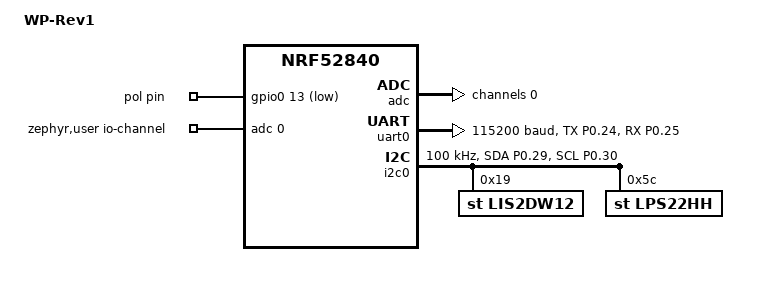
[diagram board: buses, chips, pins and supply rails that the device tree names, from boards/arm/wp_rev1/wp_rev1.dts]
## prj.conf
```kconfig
CONFIG_LOG=n
CONFIG_SERIAL=y
CONFIG_UART_INTERRUPT_DRIVEN=y
CONFIG_CONSOLE=n
CONFIG_PRINTK=n
CONFIG_SHELL=n
CONFIG_UART_CONSOLE=n
CONFIG_USE_SEGGER_RTT=n
CONFIG_BOOTLOADER_MCUBOOT=n

CONFIG_BT=y
CONFIG_BT_EXT_ADV=y
CONFIG_BT_PER_ADV=y
CONFIG_BT_CTLR_PHY_CODED=y
CONFIG_BT_USER_PHY_UPDATE=y
CONFIG_BT_HCI=y
CONFIG_BT_CTLR=y
CONFIG_BT_CTLR_TX_PWR_PLUS_8=y
CONFIG_BT_DEBUG_LOG=n
CONFIG_BT_DEVICE_NAME="WePower"
CONFIG_CLOCK_CONTROL_NRF_K32SRC_RC=y
CONFIG_CLOCK_CONTROL_NRF_K32SRC_250PPM=y
CONFIG_CLOCK_CONTROL_NRF_K32SRC_XTAL=n
#CONFIG_BOARD_ENABLE_DCDC=y
# From Nordic to disable Crypto RNG
CONFIG_HW_CC3XX=n
CONFIG_ENTROPY_CC3XX=n
CONFIG_ENTROPY_NRF5_RNG=y
CONFIG_CC3XX_BACKEND=n
# Software Crypto with Mbed
CONFIG_MBEDTLS=y
CONFIG_MBEDTLS_BUILTIN=y
CONFIG_MBEDTLS_HEAP_SIZE=512
CONFIG_MBEDTLS_CIPHER_CCM_ENABLED=y
CONFIG_MBEDTLS_CIPHER_GCM_ENABLED=y
CONFIG_CRYPTO=y
CONFIG_CRYPTO_MBEDTLS_SHIM=y
# GPIO
CONFIG_GPIO=y
# ADC
CONFIG_ADC=y
# I2C
CONFIG_I2C=y
CONFIG_I2C_NRFX=y
CONFIG_NRFX_TWIM0=y
CONFIG_SENSOR=y
CONFIG_LIS2DW12=y
CONFIG_LPS22HH=y
CONFIG_LPS22HH_TRIGGER_NONE=n
CONFIG_CBPRINTF_FP_SUPPORT=n
```

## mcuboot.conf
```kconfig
CONFIG_MULTITHREADING=y
CONFIG_LOG=n
CONFIG_CONSOLE=n
CONFIG_PRINTK=n
CONFIG_SHELL=n
CONFIG_SERIAL=n
CONFIG_FLASH=y
```

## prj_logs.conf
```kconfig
# Print the log on RTT Viewer
CONFIG_SERIAL=y
CONFIG_UART_INTERRUPT_DRIVEN=y
CONFIG_CONSOLE=y
CONFIG_UART_CONSOLE=n
CONFIG_RTT_CONSOLE=y
CONFIG_USE_SEGGER_RTT=y
CONFIG_LOG=y
CONFIG_STDOUT_CONSOLE=y
CONFIG_LOG_MODE_DEFERRED=y
CONFIG_LOG_BACKEND_UART=n
CONFIG_LOG_BACKEND_RTT=y
CONFIG_LOG_BUFFER_SIZE=4096
CONFIG_SEGGER_RTT_BUFFER_SIZE_UP=4096
CONFIG_SEGGER_RTT_BUFFER_SIZE_DOWN=256

CONFIG_BT=y
CONFIG_BT_EXT_ADV=y
CONFIG_BT_PER_ADV=y
CONFIG_BT_CTLR_PHY_CODED=y
CONFIG_BT_USER_PHY_UPDATE=y
CONFIG_BT_HCI=y
CONFIG_BT_CTLR=y
CONFIG_BT_CTLR_TX_PWR_PLUS_8=y
CONFIG_BT_DEBUG_LOG=y

CONFIG_BT_DEVICE_NAME="WePower"

CONFIG_CLOCK_CONTROL_NRF_K32SRC_RC=y
CONFIG_CLOCK_CONTROL_NRF_K32SRC_XTAL=n
#CONFIG_BOARD_ENABLE_DCDC=y
# From Nordic to disable Crypto RNG
CONFIG_HW_CC3XX=n
CONFIG_ENTROPY_CC3XX=n
CONFIG_ENTROPY_NRF5_RNG=y
CONFIG_CC3XX_BACKEND=n
# Software Crypto with Mbed
CONFIG_MBEDTLS=y
CONFIG_MBEDTLS_BUILTIN=y
CONFIG_MBEDTLS_HEAP_SIZE=512
CONFIG_MBEDTLS_CIPHER_CCM_ENABLED=y
# CONFIG_MBEDTLS_CIPHER_GCM_ENABLED=y
CONFIG_CRYPTO=y
CONFIG_CRYPTO_MBEDTLS_SHIM=y
# GPIO
CONFIG_GPIO=y
# ADC
CONFIG_ADC=y
# I2C
CONFIG_I2C=y
CONFIG_I2C_NRFX=y
CONFIG_NRFX_TWIM0=y
CONFIG_I2C_LOG_LEVEL_DBG=y
CONFIG_SENSOR=y
CONFIG_LIS2DW12=y
CONFIG_LPS22HH=y
CONFIG_LPS22HH_TRIGGER_NONE=n
CONFIG_CBPRINTF_FP_SUPPORT=y
```

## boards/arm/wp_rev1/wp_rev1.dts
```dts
// Copyright (c) 2022 Nordic Semiconductor ASA
// SPDX-License-Identifier: Apache-2.0

/dts-v1/;
#include <nordic/nrf52840_qiaa.dtsi>

/ {
	model = "WP-Rev1";
	compatible = "nordic,wepower,wp-rev1";

	chosen {
        zephyr,console = &uart0;
		zephyr,shell-uart = &uart0;
		zephyr,uart-mcumgr = &uart0;
		zephyr,bt-mon-uart = &uart0;
		zephyr,bt-c2h-uart = &uart0;
		zephyr,sram = &sram0;
		zephyr,flash = &flash0;
		zephyr,code-partition = &slot0_partition;
        zephyr,entropy = &rng;
        zephyr,i2c = &i2c0;
	};

	gpios {
		compatible = "gpio-keys";
		pol_gpio: pol_gpio {
			gpios = <&gpio0 13 (GPIO_PULL_UP | GPIO_ACTIVE_LOW)>;
			label = "pol pin";
		};
	};

	aliases {
		pol = &pol_gpio;
	};
	
	zephyr,user {
		io-channels = <&adc 0>;
	};
};

&pinctrl {
	uart0_default: uart0_default {
		group1 {
			psels = <NRF_PSEL(UART_TX, 0, 24)>, <NRF_PSEL(UART_RX, 0, 25)>;
		};
	};

	uart0_sleep: uart0_sleep {
		group1 {
			psels = <NRF_PSEL(UART_TX, 0, 24)>, <NRF_PSEL(UART_RX, 0, 25)>;
			low-power-enable;
		};
	};

	i2c0_default: i2c0_default {
		group1 {
            psels = <NRF_PSEL(TWIM_SDA, 0, 29)>, <NRF_PSEL(TWIM_SCL, 0, 30)>;
		};
	};

	i2c0_sleep: i2c0_sleep {
		group1 {
            psels = <NRF_PSEL(TWIM_SDA, 0, 29)>, <NRF_PSEL(TWIM_SCL, 0, 30)>;
		};
	};
};

&flash0 {
	partitions {
		compatible = "fixed-partitions";
		#address-cells = <1>;
		#size-cells = <1>;

		boot_partition: partition@0 {
			label = "mcuboot";
			reg = <0x00000000 0x0000C000>;
		};
		slot0_partition: partition@c000 {
			label = "image-0";
			reg = <0x0000C000 0x00067000>;
		};
		slot1_partition: partition@73000 {
			label = "image-1";
			reg = <0x00073000 0x00067000>;
		};
		scratch_partition: partition@da000 {
			label = "image-scratch";
			reg = <0x000da000 0x0001e000>;
		};

		/*
		 * The flash starting at 0x000f8000 and ending at
		 * 0x000fffff is reserved for use by the application.
		 */

		/*
		 * Storage partition will be used by FCB/LittleFS/NVS
		 * if enabled.
		 */
		storage_partition: partition@f8000 {
			label = "storage";
			reg = <0x000f8000 0x00008000>;
		};
	};
};

&adc {
	status = "okay";
	#address-cells = <1>;
	#size-cells = <0>;

	channel@0 {
		reg = <0>;
		zephyr,gain = "ADC_GAIN_1_6";
		zephyr,reference = "ADC_REF_INTERNAL";
		zephyr,acquisition-time = <ADC_ACQ_TIME_DEFAULT>;
		zephyr,input-positive = <NRF_SAADC_AIN1>; /* P0.03 */
		zephyr,resolution = <12>;
	};
};

&gpiote {
	status = "okay";
};

&gpio0 {
	status = "okay";
};

&gpio1 {
	status = "okay";
};

&uart0 {
	compatible = "nordic,nrf-uarte";
	status = "okay";
	current-speed = <115200>;
	pinctrl-0 = <&uart0_default>;
	pinctrl-1 = <&uart0_sleep>;
	pinctrl-names = "default", "sleep";
};

&i2c0 {
	compatible = "nordic,nrf-twim";
	status = "okay";
    clock-frequency = <I2C_BITRATE_STANDARD>;
	pinctrl-0 = <&i2c0_default>;
	pinctrl-1 = <&i2c0_sleep>;
	pinctrl-names = "default", "sleep";
	zephyr,concat-buf-size = <32>;	

    accel: lis2dw12@19 {
        compatible = "st,lis2dw12";
        reg = <0x19>;
        status = "okay";
        label = "LIS2DW12";
    };

    temp_pressure: st_lps22hh@5c {
        compatible = "st,lps22hh";
        reg = <0x5c>;
        status = "okay";
        label = "LPS22HH";
    };
};
```

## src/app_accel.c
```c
/** @file app_accel.c
* 
* @brief Accelerometer interface
*
* @par       
* COPYRIGHT NOTICE: (c) 2022 Ovyl. All rights reserved.
*/

#include <zephyr/kernel.h>
#include <zephyr/device.h>
#include <zephyr/devicetree.h>
#include <zephyr/drivers/sensor.h>
#include <zephyr/types.h>
#include <zephyr/logging/log.h>
#include <stdio.h>
#include <stddef.h>
#include <string.h>
#include <zephyr/sys/printk.h>
#include <zephyr/sys/util.h>
#include <zephyr/sys/util_macro.h>
#include <zephyr/drivers/i2c.h>

#include "app_accel.h"
#include "app_types.h"

static const enum sensor_channel channels[] = {
	SENSOR_CHAN_ACCEL_X,
	SENSOR_CHAN_ACCEL_Y,
	SENSOR_CHAN_ACCEL_Z,
};

int app_accel_service(accel_data_t *accel_data)
{
    const struct device *const accel_dev = DEVICE_DT_GET(DT_NODELABEL(accel));
    if (!device_is_ready(accel_dev)) {
		printk("Device %s is not ready\n", accel_dev->name);
		return ACCEL_ERROR;
	}

    int ret;
	struct sensor_value accel[3];
    
	ret = sensor_sample_fetch(accel_dev);
	if (ret < 0) {
		printk("%s: sensor_sample_fetch() failed: %d\n", accel_dev->name, ret);
		return ret;
	}

	for (size_t i = 0; i < ARRAY_SIZE(channels); i++) {
		ret = sensor_channel_get(accel_dev, channels[i], &accel[i]);
		if (ret < 0) {
			printk("%s: sensor_channel_get(%c) failed: %d\n", accel_dev->name, 'X' + i, ret);
			return ret;
		}
	}

    printk("[m/s^2]: (%12.6f, %12.6f, %12.6f)\n", sensor_value_to_double(&accel[0]), sensor_value_to_double(&accel[1]), sensor_value_to_double(&accel[2]));

    float val_x = sensor_value_to_double(&accel[0]);
    float val_y = sensor_value_to_double(&accel[1]);
    float val_z = sensor_value_to_double(&accel[2]);
    int16_t val_x_cast = (int16_t)(val_x*1000);
    int16_t val_y_cast = (int16_t)(val_y*1000);
    int16_t val_z_cast = (int16_t)(val_z*1000);

    printk("x: %i, y: %i, z: %i\n", val_x_cast, val_y_cast, val_z_cast);

    accel_data->x_accel = val_x_cast;
    accel_data->y_accel = val_y_cast;
    accel_data->z_accel = val_z_cast;

    return ACCEL_SUCCESS;
}
```

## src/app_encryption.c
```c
/** @file app_encryption.c
* 
* @brief Encryption interface
*
* @par       
* COPYRIGHT NOTICE: (c) 2022 Ovyl. All rights reserved.
*/

#include <zephyr/kernel.h>
#include <zephyr/device.h>
#include <zephyr/devicetree.h>
#include <zephyr/types.h>
#include <zephyr/logging/log.h>
#include <stdio.h>
#include <stddef.h>
#include <string.h>
#include <zephyr/sys/printk.h>
#include <zephyr/sys/util.h>
#include <zephyr/crypto/crypto.h>

#include "app_encryption.h"

#define CRYPTO_DRV_NAME CONFIG_CRYPTO_MBEDTLS_SHIM_DRV_NAME
#define CRYPTO_DEV_COMPAT nordic_nrf_ecb

uint8_t ecb_key[16] = {
	0x00, 0x01, 0x02, 0x03, 0x04, 0x05, 0x06, 0x07,
	0x08, 0x09, 0x0A, 0x0B, 0x0C, 0x0D, 0x0E, 0x0F
};
uint32_t cap_flags;

// static void print_buffer_comparison(const uint8_t *wanted_result,
// 				    uint8_t *result, size_t length)
// {
// 	int i, j;

// 	printk("Was waiting for: \n");

// 	for (i = 0, j = 1; i < length; i++, j++) {
// 		printk("0x%02x ", wanted_result[i]);

// 		if (j == 10) {
// 			printk("\n");
// 			j = 0;
// 		}
// 	}

// 	printk("\n But got:\n");

// 	for (i = 0, j = 1; i < length; i++, j++) {
// 		printk("0x%02x ", result[i]);

// 		if (j == 10) {
// 			printk("\n");
// 			j = 0;
// 		}
// 	}

// 	printk("\n");
// }

void ecb_mode(const struct device *dev)
{
	/* from FIPS-197 test vectors */


	
	// struct cipher_pkt decrypt = {
	// 	.in_buf = encrypt.out_buf,
	// 	.in_len = sizeof(encrypted),
	// 	.out_buf = decrypted,
	// 	.out_buf_max = sizeof(decrypted),
	// };

	

	

	// if (cipher_begin_session(dev, &ini, CRYPTO_CIPHER_ALGO_AES,
	// 			 CRYPTO_CIPHER_MODE_ECB,
	// 			 CRYPTO_CIPHER_OP_DECRYPT)) {
	// 	return;
	// }

	// if (cipher_block_op(&ini, &decrypt)) {
	// 	printk("ECB mode DECRYPT - Failed");
	// 	goto out;
	// }

	// printk("Output length (decryption): %d", decrypt.out_len);

	// if (memcmp(decrypt.out_buf, ecb_plaintext, sizeof(ecb_plaintext))) {
	// 	printk("ECB mode DECRYPT - Mismatch between plaintext and "
	// 		    "decrypted cipher text");
	// 	print_buffer_comparison(ecb_plaintext, decrypt.out_buf,
	// 				sizeof(ecb_plaintext));
	// 	goto out;
	// }

	// printk("ECB mode DECRYPT - Match");

}

int validate_hw_compatibility(const struct device *dev)
{
	uint32_t flags = 0U;

	flags = crypto_query_hwcaps(dev);
	if ((flags & CAP_RAW_KEY) == 0U) {
		printk("Please provision the key separately "
			"as the module doesnt support a raw key");
		return -1;
	}

	if ((flags & CAP_SYNC_OPS) == 0U) {
		printk("The app assumes sync semantics. "
		  "Please rewrite the app accordingly before proceeding");
		return -1;
	}

	if ((flags & CAP_SEPARATE_IO_BUFS) == 0U) {
		printk("The app assumes distinct IO buffers. "
		"Please rewrite the app accordingly before proceeding");
		return -1;
	}

	cap_flags = CAP_RAW_KEY | CAP_SYNC_OPS | CAP_SEPARATE_IO_BUFS;

	return 0;

}

int app_encrypt_payload(uint8_t *cleartext, uint8_t cleartext_len, uint8_t *encrypted, uint8_t encrypted_len)
{
    const struct device *dev_crypto = device_get_binding(CRYPTO_DRV_NAME);

	if (!dev_crypto) {
		printk("%s crypto device not found", CRYPTO_DRV_NAME);
		return ENCRYPTION_ERROR;
	}

    if (validate_hw_compatibility(dev_crypto)) {
		printk("Incompatible h/w");
		return ENCRYPTION_ERROR;
	}

    printk("Crypto Init Success!\n");

	struct cipher_ctx ini = {
		.keylen = sizeof(ecb_key),
		.key.bit_stream = ecb_key,
		.flags = cap_flags,
	};
	struct cipher_pkt encrypt = {
		.in_buf = cleartext,
		.in_len = cleartext_len,
		.out_buf_max = encrypted_len,
		.out_buf = encrypted,
	};

    if (cipher_begin_session(dev_crypto, &ini, CRYPTO_CIPHER_ALGO_AES,
				 CRYPTO_CIPHER_MODE_ECB,
				 CRYPTO_CIPHER_OP_ENCRYPT)) {
		return ENCRYPTION_ERROR;
	}

	if (cipher_block_op(&ini, &encrypt)) {
		printk("ERROR: ECB mode ENCRYPT - Failed\n");
		goto out;
	}

    printk("Output length (encryption): %d\n", encrypt.out_len);

	if (memcmp(encrypt.out_buf, encrypted, encrypted_len)) {
		printk("ERROR: ECB mode ENCRYPT - Mismatch between expected and "
			    "returned cipher text\n");
		goto out;
	}

	printk("ECB mode ENCRYPT - Match\n");
    cipher_free_session(dev_crypto, &ini);
    return ENCRYPTION_SUCCESS;

out:
	cipher_free_session(dev_crypto, &ini);
    return ENCRYPTION_ERROR;
}
```

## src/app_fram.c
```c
/** @file fram.c
* 
* @brief FRAM interface
*
* @par       
* COPYRIGHT NOTICE: (c) 2022 Ovyl. All rights reserved.
*/

#include <zephyr/kernel.h>
#include <zephyr/device.h>
#include <zephyr/devicetree.h>
#include <zephyr/drivers/sensor.h>
#include <zephyr/types.h>
#include <zephyr/logging/log.h>
#include <stdio.h>
#include <stddef.h>
#include <string.h>
#include <zephyr/sys/printk.h>
#include <zephyr/sys/util.h>
#include <zephyr/drivers/i2c.h>

#include "app_fram.h"
#include "app_types.h"

// FRAM Defines
#define FRAM_I2C_ADDR 0x50


int i2c_write_bytes(const struct device *i2c_dev, uint16_t addr, uint8_t *data, uint32_t num_bytes)
{
	uint8_t wr_addr[2];
	struct i2c_msg msgs[2];

	/* FRAM address */
	wr_addr[0] = (addr >> 8) & 0xFF;
	wr_addr[1] = addr & 0xFF;
    
	/* Setup I2C messages */

	/* Send the address to write to */
	msgs[0].buf = wr_addr;
	msgs[0].len = 2U;
	msgs[0].flags = I2C_MSG_WRITE;

	/* Data to be written, and STOP after this. */
	msgs[1].buf = data;
	msgs[1].len = num_bytes;
	msgs[1].flags = I2C_MSG_WRITE | I2C_MSG_STOP;

	return i2c_transfer(i2c_dev, &msgs[0], 2, FRAM_I2C_ADDR);
}

int i2c_read_bytes(const struct device *i2c_dev, uint16_t addr, uint8_t *data, uint32_t num_bytes)
{
	uint8_t wr_addr[2];
	struct i2c_msg msgs[2];

	/* Now try to read back from FRAM */

	/* FRAM address */
	wr_addr[0] = (addr >> 8) & 0xFF;
	wr_addr[1] = addr & 0xFF;

	/* Setup I2C messages */

	/* Send the address to read from */
	msgs[0].buf = wr_addr;
	msgs[0].len = 2U;
	msgs[0].flags = I2C_MSG_WRITE;

	/* Read from device. STOP after this. */
	msgs[1].buf = data;
	msgs[1].len = num_bytes;
	msgs[1].flags = I2C_MSG_READ | I2C_MSG_STOP;

	return i2c_transfer(i2c_dev, &msgs[0], 2, FRAM_I2C_ADDR);
}

int app_fram_read_field(uint8_t field, uint8_t *dat)
{
	int ret;
	uint16_t addr = 0;
	uint32_t length = 0;

	const struct device *const i2c_dev = DEVICE_DT_GET(DT_NODELABEL(i2c0));

	if (!device_is_ready(i2c_dev)) {
		printk("I2C Device is not ready.\n");
		return FRAM_ERROR;
	}

	if(field == EV_CTR){
		addr = FRAM_COUNTER_ADDR;
		length = FRAM_COUNTER_NUM_BYTES;
	}
	else if(field == SER_NUM){
		addr = SER_NUM_ADDR;
		length = SER_NUM_BYTES;
	}
	else if (field == TYPE){
		addr = TYPE_ADDR;
		length = TYPE_NUM_BYTES;
	}
	else if (field == EV_INT){
		addr = EV_INT_ADDR;
		length = EV_INT_NUM_BYTES;
	}
	else if (field == EV_MAX){
		addr = EV_MAX_ADDR;
		length = EV_MAX_NUM_BYTES;
	}
	else if(field == EV_SLP){
		addr = EV_SLP_ADDR;
		length = EV_SLP_NUM_BYTES;
	}
	else if(field == IN_SLP){
		addr = IN_SLP_ADDR;
		length = IN_SLP_NUM_BYTES;
	}
	else if (field == ISL9122){
		addr = ISL9122_ADDR;
		length = ISL9122_NUM_BYTES;
	}
	else if (field == POL_MET){
		addr = POL_MET_ADDR;
		length = POL_MET_NUM_BYTES;
	}
	else if (field == ENCRYPTED_KEY){
		addr = ENCRYPTED_KEY_ADDR;
		length = ENCRYPTED_KEY_NUM_BYTES;
	}
	else if (field == TX_DBM){
		addr = TX_DBM_ADDR;
		length = TX_DBM_NUM_BYTES;
	}
	else if (field == NAME){
		addr = NAME_ADDR;
		length = NAME_NUM_BYTES;
	}

	ret = i2c_read_bytes(i2c_dev, addr, dat, length);
	if (ret) {
		printk("Error reading from FRAM! error code (%d)\n", ret);
		return FRAM_ERROR;
	} else {
		printk(">>Read the data successfully\n");
	}

	return FRAM_SUCCESS;
}

int app_fram_write_field(uint8_t field, uint8_t *dat)
{
	int ret;
	uint16_t addr = 0;
	uint32_t num_bytes = 0;

	const struct device *const i2c_dev = DEVICE_DT_GET(DT_NODELABEL(i2c0));

	if (!device_is_ready(i2c_dev)) {
		printk("I2C Device is not ready.\n");
		return FRAM_ERROR;
	}

	switch(field)
	{
		case EV_CTR:
			addr = FRAM_COUNTER_ADDR;
			num_bytes = FRAM_COUNTER_NUM_BYTES;
			break;
		case SER_NUM:
			addr = SER_NUM_ADDR;
			num_bytes = SER_NUM_BYTES;
			break;
		case TYPE:
			addr = TYPE_ADDR;
			num_bytes = TYPE_NUM_BYTES;
			break;
		case EV_INT:
			addr = EV_INT_ADDR;
			num_bytes = EV_INT_NUM_BYTES;
			break;
		case EV_MAX:
			addr = EV_MAX_ADDR;
			num_bytes = EV_MAX_NUM_BYTES;
			break;
		case EV_SLP:
			addr = EV_SLP_ADDR;
			num_bytes = EV_SLP_NUM_BYTES;
			break;
		case IN_SLP:
			addr = IN_SLP_ADDR;
			num_bytes = IN_SLP_NUM_BYTES;
			break;
		case ISL9122:
			addr = ISL9122_ADDR;
			num_bytes = ISL9122_NUM_BYTES;
			break;
		case POL_MET:
			addr = POL_MET_ADDR;
			num_bytes = POL_MET_NUM_BYTES;
			break;
		case ENCRYPTED_KEY:
			addr = ENCRYPTED_KEY_ADDR;
			num_bytes = ENCRYPTED_KEY_NUM_BYTES;
			break;
		case TX_DBM:
			addr = TX_DBM_ADDR;
			num_bytes = TX_DBM_NUM_BYTES;
			break;
		case NAME:
			addr = NAME_ADDR;
			num_bytes = NAME_NUM_BYTES;
			break;
	}

	ret = i2c_write_bytes(i2c_dev, addr, dat, num_bytes);
	if (ret) {
		printk("Error reading from FRAM! error code (%d)\n", ret);
		return FRAM_ERROR;
	} else {
		printk(">>Write the data successfully\n");
	}

	return FRAM_SUCCESS;
}


int app_fram_read_data(fram_data_t *dat)
{
	int ret;

	const struct device *const i2c_dev = DEVICE_DT_GET(DT_NODELABEL(i2c0));

	if (!device_is_ready(i2c_dev)) {
		printk("I2C Device is not ready.\n");
		return FRAM_ERROR;
	}

	ret = i2c_read_bytes(i2c_dev, FRAM_COUNTER_ADDR, dat, sizeof(fram_data_t));
	if (ret) {
		printk("Error reading from FRAM! error code (%d)\n", ret);
		return FRAM_ERROR;
	} 
	return FRAM_SUCCESS;

}

int app_fram_write_data(fram_data_t *dat)
{
	int ret;

	const struct device *const i2c_dev = DEVICE_DT_GET(DT_NODELABEL(i2c0));

	if (!device_is_ready(i2c_dev)) {
		printk("I2C Device is not ready.\n");
		return FRAM_ERROR;
	}

	ret = i2c_write_bytes(i2c_dev, FRAM_COUNTER_ADDR, dat, sizeof(fram_data_t));
	if (ret) {
		printk("Error writing from FRAM! error code (%d)\n", ret);
		return FRAM_ERROR;
	} else {
		printk(">> ------- Writing FRAM Data -------\n");
		printk(">>[FRAM INFO]->Event Counter: 0x%08X\n", dat->event_counter);
		printk(">>[FRAM INFO]->Serial Number: 0x%08X\n", dat->serial_number);
		printk(">>[FRAM INFO]->Device Type: %d\n", dat->type);
		printk(">>[FRAM INFO]->Frame Interval: %d ms\n", dat->event_inteval);
		printk(">>[FRAM INFO]->Frame Maximum Number: %d\n", dat->event_max_limits);
		printk(">>[FRAM INFO]->Minimum Sleeping Interval: %d\n", dat->sleep_min_interval);
		printk(">>[FRAM INFO]->Sleep time After Wake up: %d\n", dat->sleep_after_wake);
		printk(">>[FRAM INFO]->Voltage of ISL9122: %d\n", dat->u8_voltsISL9122);
		printk(">>[FRAM INFO]->POL Method: %d\n", dat->u8_POLmethod);
		printk(">>[FRAM INFO]->Encrypted Key: ");
		for (uint8_t i = 0; i < ENCRYPTED_KEY_NUM_BYTES; i++){
			printk("0x%02X,", dat->encrypted_key[i]);
		}
		printk("\n");
		printk(">>[FRAM INFO]->TX dBM 10: %d\n", dat->tx_dbm_10);
		printk(">>[FRAM INFO]->cName: %s\n", dat->cName);
	}

	return FRAM_SUCCESS;

}

int app_fram_read_counter(fram_data_t *dat)
{
	int ret;

	const struct device *const i2c_dev = DEVICE_DT_GET(DT_NODELABEL(i2c0));

	if (!device_is_ready(i2c_dev)) {
		printk("I2C Device is not ready.\n");
		return FRAM_ERROR;
	}

	ret = i2c_read_bytes(i2c_dev, FRAM_COUNTER_ADDR, dat, FRAM_COUNTER_NUM_BYTES);
	if (ret) {
		printk("Error reading from FRAM! error code (%d)\n", ret);
		return FRAM_ERROR;
	} else {
		printk(">>[FRAM INFO]->Frame Counter: 0x%08X\n", dat->event_counter);
	}

	return FRAM_SUCCESS;
}

int app_fram_write_counter(fram_data_t *dat)
{
	int ret;

	const struct device *const i2c_dev = DEVICE_DT_GET(DT_NODELABEL(i2c0));

	if (!device_is_ready(i2c_dev)) {
		printk("I2C Device is not ready.\n");
		return FRAM_ERROR;
	}

	ret = i2c_write_bytes(i2c_dev, FRAM_COUNTER_ADDR, dat, FRAM_COUNTER_NUM_BYTES);
	if (ret) {
		printk("Error writing from FRAM! error code (%d)\n", ret);
		return FRAM_ERROR;
	} else {
		printk(">>[FRAM INFO]->Frame Counter: 0x%08X\n", dat->event_counter);
	}

	return FRAM_SUCCESS;
}

int app_fram_service(uint32_t *counter)
{
	int ret;
    u32_u8_t fram_data;
    fram_data.u32 = 0;

	const struct device *const i2c_dev = DEVICE_DT_GET(DT_NODELABEL(i2c0));

	if (!device_is_ready(i2c_dev)) {
		printk("I2C Device is not ready.\n");
		return FRAM_ERROR;
	}

    // Read the 4 data bytes at this address
	ret = i2c_read_bytes(i2c_dev, FRAM_COUNTER_ADDR, &fram_data.u8[0], FRAM_COUNTER_NUM_BYTES);
	if (ret) {
		printk("Error reading from FRAM! error code (%d)\n", ret);
		return FRAM_ERROR;
	} else {
		printk("Read %u (%08X)from address %u.\n", fram_data.u32, fram_data.u32, FRAM_COUNTER_ADDR);
	}

    // Increment count
    fram_data.u32++;

	ret = i2c_write_bytes(i2c_dev, FRAM_COUNTER_ADDR, &fram_data.u8[0], FRAM_COUNTER_NUM_BYTES);
	if (ret) {
		printk("Error writing to FRAM! error code (%d)\n", ret);
		return FRAM_ERROR;
	} else {
		printk("Wrote %u (%08X) to address %u.\n", fram_data.u32, fram_data.u32, FRAM_COUNTER_ADDR);
	}

    *counter = fram_data.u32;

    return FRAM_SUCCESS;
}
```

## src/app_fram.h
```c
/** @file fram.h
* 
* @brief FRAM interface
*
* @par       
* COPYRIGHT NOTICE: (c) 2022 Ovyl.  All rights reserved.
*/ 

#ifndef APP_FRAM_H
#define APP_FRAM_H

#define FRAM_ERROR -1
#define FRAM_SUCCESS 0

#define FRAM_COUNTER_ADDR 			0x0000
#define FRAM_COUNTER_NUM_BYTES 		4
#define SER_NUM_ADDR 				0x0004
#define SER_NUM_BYTES 				4
#define TYPE_ADDR					0x0008
#define TYPE_NUM_BYTES 				1
#define EV_INT_ADDR					0x0009
#define EV_INT_NUM_BYTES			1
#define EV_MAX_ADDR					0x000a
#define EV_MAX_NUM_BYTES			2
#define EV_SLP_ADDR					0x000c
#define EV_SLP_NUM_BYTES 			2
#define IN_SLP_ADDR					0x000e
#define IN_SLP_NUM_BYTES			2
#define ISL9122_ADDR				0x0010
#define ISL9122_NUM_BYTES			1
#define POL_MET_ADDR				0x0011
#define POL_MET_NUM_BYTES			1
#define ENCRYPTED_KEY_ADDR			0x0012
#define ENCRYPTED_KEY_NUM_BYTES		16
#define TX_DBM_ADDR					0x0022
#define TX_DBM_NUM_BYTES			1
#define NAME_ADDR					0x0023
#define NAME_NUM_BYTES				10

enum POL_ACTIONS {
	NO_POL,		// do not use POL
	OUT_POL,	// raise POL at start and toggle on each beacon
	IN_POL,		// read POL once st start of main() as switch polarity
	CMP_POL,	// capture ACMP0 in EFR32MG24 as switch polarity
	ERR_POL=0xFF
};

typedef struct
{
    uint32_t event_counter; //
    uint32_t serial_number;
    uint8_t  type;
    uint8_t  event_inteval;
    uint16_t event_max_limits;
    uint16_t sleep_min_interval;
    uint16_t sleep_after_wake;
	uint8_t u8_voltsISL9122;
	uint8_t u8_POLmethod; 
	uint8_t encrypted_key[16];
	uint8_t tx_dbm_10;
	uint8_t cName[10];
} fram_data_t;

enum FRAM_FIELDS {
       EV_CTR = 0,
       SER_NUM,
       TYPE,
       EV_INT,
       EV_MAX,
       EV_SLP,
       IN_SLP,
       ISL9122,
       POL_MET,
	   ENCRYPTED_KEY,
	   TX_DBM,
	   NAME,
       MAX_FRAM_FIELDS
};

int app_fram_read_field(uint8_t field, uint8_t *dat);
int app_fram_write_field(uint8_t field, uint8_t *dat);
int app_fram_service(uint32_t *counter);
int app_fram_read_data(fram_data_t *dat);
int app_fram_write_data(fram_data_t *dat);
int app_fram_read_counter(fram_data_t *dat);
int app_fram_write_counter(fram_data_t *dat);
#endif /* APP_FRAM_H */
```

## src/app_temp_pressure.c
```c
/** @file app_accel.c
* 
* @brief Accelerometer interface
*
* @par       
* COPYRIGHT NOTICE: (c) 2022 Ovyl. All rights reserved.
*/

#include <zephyr/kernel.h>
#include <zephyr/device.h>
#include <zephyr/devicetree.h>
#include <zephyr/drivers/sensor.h>
#include <zephyr/types.h>
#include <zephyr/logging/log.h>
#include <stdio.h>
#include <stddef.h>
#include <string.h>
#include <zephyr/sys/printk.h>
#include <zephyr/sys/util.h>
#include <zephyr/sys/util_macro.h>
#include <zephyr/drivers/i2c.h>

#include "app_temp_pressure.h"
#include "app_types.h"

extern uint8_t bPressureRequested;

static void lps22hh_handler(const struct device *dev, const struct sensor_trigger *trig)
{
	//process_sample(dev);
}

//#define TESTING
#ifdef TESTING

static void process_sample(const struct device *dev)
{
	static unsigned int obs;
	struct sensor_value pressure, temp;

	if (sensor_sample_fetch(dev) < 0) {
		printk("Sensor sample update error\n");
		return;
	}

	if (sensor_channel_get(dev, SENSOR_CHAN_PRESS, &pressure) < 0) {
		printk("Cannot read LPS22HH pressure channel\n");
		return;
	}

	if (sensor_channel_get(dev, SENSOR_CHAN_AMBIENT_TEMP, &temp) < 0) {
		printk("Cannot read LPS22HH temperature channel\n");
		return;
	}

	++obs;
	printk("Observation: %u\n", obs);

	/* display pressure */
	printk("Pressure: %.3f kPa\n", sensor_value_to_double(&pressure));

	/* display temperature */
	printk("Temperature: %.2f C\n", sensor_value_to_double(&temp));

}

void testing(void)
{
    const struct device *const dev = DEVICE_DT_GET_ONE(st_lps22hh);

	if (!device_is_ready(dev)) {
		printk("sensor: device not ready.\n");
		return;
	}

	if (IS_ENABLED(CONFIG_LPS22HH_TRIGGER)) {
		struct sensor_value attr = {
			.val1 = 1,
		};
		struct sensor_trigger trig = {
			.type = SENSOR_TRIG_DATA_READY,
			.chan = SENSOR_CHAN_ALL,
		};

		if (sensor_attr_set(dev, SENSOR_CHAN_ALL,
				    SENSOR_ATTR_SAMPLING_FREQUENCY, &attr) < 0) {
			printk("Cannot configure sampling rate\n");
			return;
		}
		if (sensor_trigger_set(dev, &trig, lps22hh_handler) < 0) {
			printk("Cannot configure trigger\n");
			return;
		}
		printk("Configured for triggered collection at %u Hz\n",
		       attr.val1);
	}

    process_sample(dev);

	while (!IS_ENABLED(CONFIG_LPS22HH_TRIGGER)) {
		process_sample(dev);
		k_sleep(K_MSEC(2000));
	}
    k_sleep(K_FOREVER);

}

#endif

int app_temp_pressure_trigger(void)
{
	const struct device* const dev = DEVICE_DT_GET_ONE(st_lps22hh);

	if (IS_ENABLED(CONFIG_LPS22HH_TRIGGER)) {
		struct sensor_value attr = {
			.val1 = 1,
		};
		struct sensor_trigger trig = {
			.type = SENSOR_TRIG_DATA_READY,
			.chan = SENSOR_CHAN_ALL,
		};

		if (bPressureRequested == 0) {

			if (sensor_attr_set(dev, SENSOR_CHAN_ALL,
				SENSOR_ATTR_SAMPLING_FREQUENCY, &attr) < 0) {
				printk("Cannot configure sampling rate\n");
				return TEMP_PRESSURE_ERROR;
			}
			if (sensor_trigger_set(dev, &trig, lps22hh_handler) < 0) {
				printk("Cannot configure trigger\n");
				return TEMP_PRESSURE_ERROR;
			}
			printk("Configured for triggered collection at %u Hz\n",
				attr.val1);
		}
	}

	if (!device_is_ready(dev)) {
		printk("sensor: device not ready.\n");
		return TEMP_PRESSURE_ERROR;
	}

	printk("Temp & Pressure Init Success!\n");
	return TEMP_PRESSURE_SUCCESS;
}

int app_temp_pressure_service(temp_pressure_data_t *temp_pressure_data)
{
#ifdef TESTING
    testing();
#else 
	const struct device *const dev = DEVICE_DT_GET_ONE(st_lps22hh);
	struct sensor_value pressure, temp;

    if (TEMP_PRESSURE_ERROR == app_temp_pressure_trigger()) return TEMP_PRESSURE_ERROR;

	if (bPressureRequested == 0) k_msleep(10);
	bPressureRequested = 0; // used the trigger.

	if (sensor_sample_fetch(dev) < 0) {
		printk("Sensor sample update error\n");
		return TEMP_PRESSURE_ERROR;
	}

    //k_msleep(10);

	if (sensor_channel_get(dev, SENSOR_CHAN_PRESS, &pressure) < 0) {
		printk("Cannot read LPS22HH pressure channel\n");
		return TEMP_PRESSURE_ERROR;
	}

	if (sensor_channel_get(dev, SENSOR_CHAN_AMBIENT_TEMP, &temp) < 0) {
		printk("Cannot read LPS22HH temperature channel\n");
		return TEMP_PRESSURE_ERROR;
	}

	/* display pressure */
	printk("Pressure: %.3f kPa\n", sensor_value_to_double(&pressure));
	printk("Temperature: %.2f C\n", sensor_value_to_double(&temp));

    float pressure_f =  sensor_value_to_double(&pressure);
    float temp_f = sensor_value_to_double(&temp);
    int16_t pressure_cast = (int16_t)(pressure_f*100);
    int16_t temp_cast = (int16_t)(temp_f*100);
    temp_pressure_data->pressure = pressure_cast;
    temp_pressure_data->temp = temp_cast;

    printk("Pressure Casted: %i kPa\n",pressure_cast);
	printk("Temperature Casted: %i C\n", temp_cast);
#endif
    return TEMP_PRESSURE_SUCCESS;

}
```

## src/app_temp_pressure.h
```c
/** @file app_temp_pressure.h
* 
* @brief Temp and Pressure interface
*
* @par       
* COPYRIGHT NOTICE: (c) 2022 Ovyl.  All rights reserved.
*/ 

#ifndef APP_TEMP_PRESSURE_H
#define APP_TEMP_PRESSURE_H

#include <stdint.h>

#define TEMP_PRESSURE_ERROR -1
#define TEMP_PRESSURE_SUCCESS 0

typedef struct 
{
    int16_t temp;
    int16_t pressure;
} temp_pressure_data_t;

int app_temp_pressure_trigger(void);
int app_temp_pressure_service(temp_pressure_data_t *temp_pressure_data);

#endif /* APP_TEMP_PRESSURE_H */
```

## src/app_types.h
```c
/** @file fram.h
* 
* @brief FRAM interface
*
* @par       
* COPYRIGHT NOTICE: (c) 2022 Ovyl.  All rights reserved.
*/ 

#ifndef APP_TYPES_H
#define APP_TYPES_H

#include <stdint.h>

#define DATA_SIZE_BYTES 16

typedef union {
    uint32_t u32;
    uint8_t u8[4];
} u32_u8_t;

typedef union {
    uint16_t u16;
    uint8_t u8[2];
} u16_u8_t;

typedef union {
    int16_t i16;
    uint8_t u8[2];
} i16_u8_t;

typedef struct 
{
	uint8_t type; // 1 byte
    uint8_t event_counter24[3];  // 4 bytes (total)
    i16_u8_t accel_x;       // 6
    i16_u8_t accel_y;       // 8
    i16_u8_t accel_z;       // 10
    i16_u8_t temp;          // 12
    i16_u8_t pressure;      // 14
    u16_u8_t id;            // 16
} we_power_data_t;

typedef union {
    we_power_data_t data_fields;
    uint8_t data_bytes[DATA_SIZE_BYTES];
} we_power_data_ble_adv_t;

#endif /* APP_FRAM_H */
```
